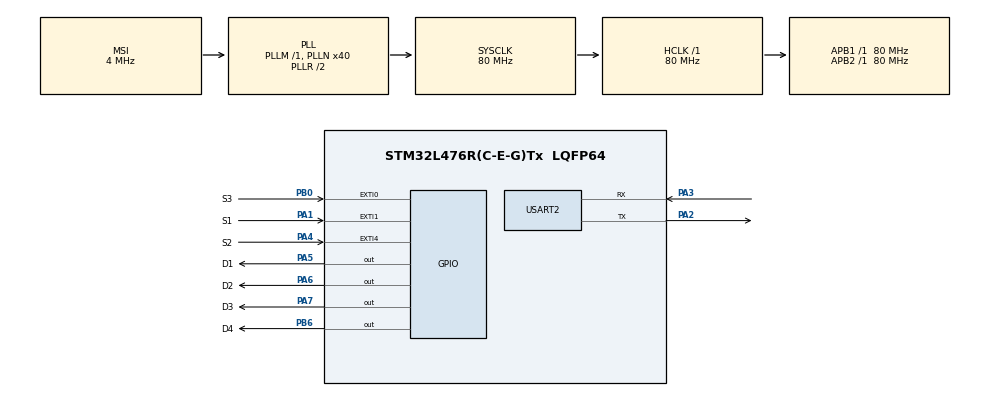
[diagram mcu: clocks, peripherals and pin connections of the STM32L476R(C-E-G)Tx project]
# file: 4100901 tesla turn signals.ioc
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Mcu.Family=STM32L4
Mcu.Name=STM32L476R(C-E-G)Tx
Mcu.Package=LQFP64
NVIC.EXTI0_IRQn=true\:0\:0\:false\:false\:true\:true\:true\:true
NVIC.EXTI1_IRQn=true\:0\:0\:false\:false\:true\:true\:true\:true
NVIC.EXTI4_IRQn=true\:0\:0\:false\:false\:true\:true\:true\:true
NVIC.PriorityGroup=NVIC_PRIORITYGROUP_4
PA1.GPIO_Label=S1
PA1.GPIO_ModeDefaultEXTI=GPIO_MODE_IT_FALLING
PA1.Signal=GPXTI1
PA2.Mode=Asynchronous
PA2.Signal=USART2_TX
PA3.Mode=Asynchronous
PA3.Signal=USART2_RX
PA4.GPIO_Label=S2
PA4.GPIO_ModeDefaultEXTI=GPIO_MODE_IT_FALLING
PA4.Signal=GPXTI4
PA5.GPIO_Label=D1
PA5.PinState=GPIO_PIN_SET
PA5.Signal=GPIO_Output
PA6.GPIO_Label=D2
PA6.PinState=GPIO_PIN_SET
PA6.Signal=GPIO_Output
PA7.GPIO_Label=D3
PA7.PinState=GPIO_PIN_SET
PA7.Signal=GPIO_Output
PB0.GPIO_Label=S3
PB0.GPIO_ModeDefaultEXTI=GPIO_MODE_IT_FALLING
PB0.Signal=GPXTI0
PB6.GPIO_Label=D4
PB6.PinState=GPIO_PIN_SET
PB6.Signal=GPIO_Output
ProjectManager.HeapSize=0x200
ProjectManager.StackSize=0x400
ProjectManager.TargetToolchain=STM32CubeIDE
RCC.AHBFreq_Value=80000000
RCC.APB1Freq_Value=80000000
RCC.APB1TimFreq_Value=80000000
RCC.APB2Freq_Value=80000000
RCC.APB2TimFreq_Value=80000000
RCC.CortexFreq_Value=80000000
RCC.HCLKFreq_Value=80000000
RCC.HSE_VALUE=8000000
RCC.HSI_VALUE=16000000
RCC.LSE_VALUE=32768
RCC.MSI_VALUE=4000000
RCC.PLLN=40
RCC.SYSCLKFreq_VALUE=80000000
RCC.SYSCLKSource=RCC_SYSCLKSOURCE_PLLCLK
RCC.VCOOutputFreq_Value=160000000
USART2.VirtualMode-Asynchronous=VM_ASYNC
board=custom

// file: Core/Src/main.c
/* USER CODE BEGIN Header */
/**
  ******************************************************************************
  * @file           : main.c
  * @brief          : Main program body
  ******************************************************************************
  * @attention
  *
  * Copyright (c) 2024 STMicroelectronics.
  * All rights reserved.
  *
  * This software is licensed under terms that can be found in the LICENSE file
  * in the root directory of this software component.
  * If no LICENSE file comes with this software, it is provided AS-IS.
  *
  ******************************************************************************
  */
/* USER CODE END Header */
#include "main.h"

UART_HandleTypeDef huart2;

/* USER CODE BEGIN PV */
uint32_t left_toggles =0;
/* USER CODE END PV */

void SystemClock_Config(void);
static void MX_GPIO_Init(void);
static void MX_USART2_UART_Init(void);

/* USER CODE BEGIN 0 */
void HAL_GPIO_EXTI_Callback(uint16_t GPIO_Pin)
{
  /* Prevent unused argument(s) compilation warning */

  if (GPIO_Pin == S1_Pin){
	  HAL_UART_Transmit(&huart2, "S1\r\n", 4, 10);
  }
  /* NOTE: This function should not be modified, when the callback is needed,
           the HAL_GPIO_EXTI_Callback could be implemented in the user file
   */
}

void heartbeat(void)
{
	static uint32_t hearbeat_tick = 0;
	if (hearbeat_tick < HAL_GetTick()){
		hearbeat_tick = HAL_GetTick()+ 500;
		HAL_GPIO_TogglePin(D1_GPIO_Port, D1_Pin);
	}
}

void turn_signal_left(void)
{
	static uint32_t turn_toggle_tick = 0;
	if (turn_toggle_tick < HAL_GetTick()&& left_toggles > 0){
		turn_toggle_tick = HAL_GetTick()+ 500;
		HAL_GPIO_TogglePin(D3_GPIO_Port, D3_Pin);
		left_toggles--;
	}
}
/* USER CODE END 0 */

int main(void)
{

  /* MCU Configuration--------------------------------------------------------*/

  /* Reset of all peripherals, Initializes the Flash interface and the Systick. */
  HAL_Init();

  /* Configure the system clock */
  SystemClock_Config();

  /* Initialize all configured peripherals */
  MX_GPIO_Init();
  MX_USART2_UART_Init();

  /* Infinite loop */
  while (1)
  {
	  heartbeat();
	  turn_signal_left();
  }
}

void SystemClock_Config(void)
{
  RCC_OscInitTypeDef RCC_OscInitStruct = {0};
  RCC_ClkInitTypeDef RCC_ClkInitStruct = {0};

  /** Configure the main internal regulator output voltage
  */
  if (HAL_PWREx_ControlVoltageScaling(PWR_REGULATOR_VOLTAGE_SCALE1) != HAL_OK)
  {
    Error_Handler();
  }

  /** Initializes the RCC Oscillators according to the specified parameters
  * in the RCC_OscInitTypeDef structure.
  */
  RCC_OscInitStruct.OscillatorType = RCC_OSCILLATORTYPE_MSI;
  RCC_OscInitStruct.MSIState = RCC_MSI_ON;
  RCC_OscInitStruct.MSICalibrationValue = 0;
  RCC_OscInitStruct.MSIClockRange = RCC_MSIRANGE_6;
  RCC_OscInitStruct.PLL.PLLState = RCC_PLL_ON;
  RCC_OscInitStruct.PLL.PLLSource = RCC_PLLSOURCE_MSI;
  RCC_OscInitStruct.PLL.PLLM = 1;
  RCC_OscInitStruct.PLL.PLLN = 40;
  RCC_OscInitStruct.PLL.PLLP = RCC_PLLP_DIV7;
  RCC_OscInitStruct.PLL.PLLQ = RCC_PLLQ_DIV2;
  RCC_OscInitStruct.PLL.PLLR = RCC_PLLR_DIV2;
  if (HAL_RCC_OscConfig(&RCC_OscInitStruct) != HAL_OK)
  {
    Error_Handler();
  }

  /** Initializes the CPU, AHB and APB buses clocks
  */
  RCC_ClkInitStruct.ClockType = RCC_CLOCKTYPE_HCLK|RCC_CLOCKTYPE_SYSCLK
                              |RCC_CLOCKTYPE_PCLK1|RCC_CLOCKTYPE_PCLK2;
  RCC_ClkInitStruct.SYSCLKSource = RCC_SYSCLKSOURCE_PLLCLK;
  RCC_ClkInitStruct.AHBCLKDivider = RCC_SYSCLK_DIV1;
  RCC_ClkInitStruct.APB1CLKDivider = RCC_HCLK_DIV1;
  RCC_ClkInitStruct.APB2CLKDivider = RCC_HCLK_DIV1;

  if (HAL_RCC_ClockConfig(&RCC_ClkInitStruct, FLASH_LATENCY_4) != HAL_OK)
  {
    Error_Handler();
  }
}

static void MX_USART2_UART_Init(void)
{

  huart2.Instance = USART2;
  huart2.Init.BaudRate = 115200;
  huart2.Init.WordLength = UART_WORDLENGTH_8B;
  huart2.Init.StopBits = UART_STOPBITS_1;
  huart2.Init.Parity = UART_PARITY_NONE;
  huart2.Init.Mode = UART_MODE_TX_RX;
  huart2.Init.HwFlowCtl = UART_HWCONTROL_NONE;
  huart2.Init.OverSampling = UART_OVERSAMPLING_16;
  huart2.Init.OneBitSampling = UART_ONE_BIT_SAMPLE_DISABLE;
  huart2.AdvancedInit.AdvFeatureInit = UART_ADVFEATURE_NO_INIT;
  if (HAL_UART_Init(&huart2) != HAL_OK)
  {
    Error_Handler();
  }

}

static void MX_GPIO_Init(void)
{
  GPIO_InitTypeDef GPIO_InitStruct = {0};

  /* GPIO Ports Clock Enable */
  __HAL_RCC_GPIOA_CLK_ENABLE();
  __HAL_RCC_GPIOB_CLK_ENABLE();

  /*Configure GPIO pin Output Level */
  HAL_GPIO_WritePin(GPIOA, D1_Pin|D2_Pin|D3_Pin, GPIO_PIN_SET);

  /*Configure GPIO pin Output Level */
  HAL_GPIO_WritePin(D4_GPIO_Port, D4_Pin, GPIO_PIN_SET);

  /*Configure GPIO pins : S1_Pin S2_Pin */
  GPIO_InitStruct.Pin = S1_Pin|S2_Pin;
  GPIO_InitStruct.Mode = GPIO_MODE_IT_FALLING;
  GPIO_InitStruct.Pull = GPIO_NOPULL;
  HAL_GPIO_Init(GPIOA, &GPIO_InitStruct);

  /*Configure GPIO pins : D1_Pin D2_Pin D3_Pin */
  GPIO_InitStruct.Pin = D1_Pin|D2_Pin|D3_Pin;
  GPIO_InitStruct.Mode = GPIO_MODE_OUTPUT_PP;
  GPIO_InitStruct.Pull = GPIO_NOPULL;
  GPIO_InitStruct.Speed = GPIO_SPEED_FREQ_LOW;
  HAL_GPIO_Init(GPIOA, &GPIO_InitStruct);

  /*Configure GPIO pin : S3_Pin */
  GPIO_InitStruct.Pin = S3_Pin;
  GPIO_InitStruct.Mode = GPIO_MODE_IT_FALLING;
  GPIO_InitStruct.Pull = GPIO_NOPULL;
  HAL_GPIO_Init(S3_GPIO_Port, &GPIO_InitStruct);

  /*Configure GPIO pin : D4_Pin */
  GPIO_InitStruct.Pin = D4_Pin;
  GPIO_InitStruct.Mode = GPIO_MODE_OUTPUT_PP;
  GPIO_InitStruct.Pull = GPIO_NOPULL;
  GPIO_InitStruct.Speed = GPIO_SPEED_FREQ_LOW;
  HAL_GPIO_Init(D4_GPIO_Port, &GPIO_InitStruct);

  /* EXTI interrupt init*/
  HAL_NVIC_SetPriority(EXTI0_IRQn, 0, 0);
  HAL_NVIC_EnableIRQ(EXTI0_IRQn);

  HAL_NVIC_SetPriority(EXTI1_IRQn, 0, 0);
  HAL_NVIC_EnableIRQ(EXTI1_IRQn);

  HAL_NVIC_SetPriority(EXTI4_IRQn, 0, 0);
  HAL_NVIC_EnableIRQ(EXTI4_IRQn);

}

void Error_Handler(void)
{
  __disable_irq();
  while (1)
  {
  }
}
